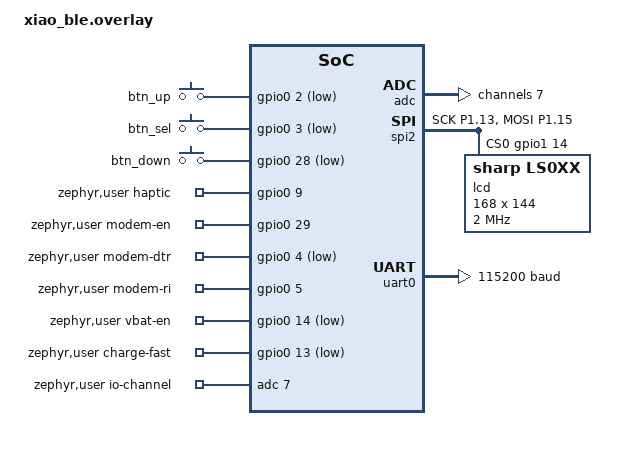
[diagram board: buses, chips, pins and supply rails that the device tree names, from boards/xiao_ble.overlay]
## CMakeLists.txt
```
cmake_minimum_required(VERSION 3.20.0)
find_package(Zephyr REQUIRED HINTS $ENV{ZEPHYR_BASE})
project(life_pager)

target_sources(app PRIVATE
  src/main.c src/hw.c src/ble.c src/modem.c
  src/model.c src/proto.c)

# 8x16 font for the 168x144 display (21 x 9 characters), generated from DejaVu Sans Mono
# the same way Zephyr's samples/subsys/display/cfb_custom_font does it.
set(gen_dir ${ZEPHYR_BINARY_DIR}/include/generated/)
generate_cfb_font_for_target(app fonts/DejaVuSansMono.ttf ${gen_dir}/cfb_font_pager.h 8 16
  --first 32 --last 126)
```

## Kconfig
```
mainmenu "Life Pager"

config PAGER_LTE
	bool "Enable the LTE-M away link (nRF9151 Serial Modem on uart0)"
	default y

config PAGER_AWAY_DELAY_S
	int "Seconds without the phone before LTE is switched on"
	default 60

config PAGER_MQTT_HOST
	string "MQTT broker host name"
	default "broker.example.com"

config PAGER_MQTT_PORT
	int "MQTT broker TLS port"
	default 8883

config PAGER_MQTT_USER
	string "MQTT user name"
	default "pager1"

config PAGER_MQTT_PASS
	string "MQTT password (set it in a private conf file, see firmware/README.md)"
	default ""

config PAGER_MQTT_SEC_TAG
	int "Modem security tag holding the broker's CA certificate"
	default 4242

config PAGER_ID
	string "Pager id used in MQTT topics"
	default "pager1"

source "Kconfig.zephyr"
```

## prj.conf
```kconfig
# ---- Bluetooth: peripheral, bonded, ANCS client + pager bridge service
CONFIG_BT=y
CONFIG_BT_PERIPHERAL=y
CONFIG_BT_SMP=y
CONFIG_BT_SETTINGS=y
CONFIG_BT_MAX_PAIRED=1
CONFIG_BT_MAX_CONN=1
CONFIG_BT_DEVICE_NAME="Life Pager"
CONFIG_BT_DEVICE_APPEARANCE=0
CONFIG_BT_GATT_CLIENT=y
CONFIG_BT_GATT_DM=y
CONFIG_BT_ANCS_CLIENT=y
CONFIG_BT_L2CAP_TX_MTU=247
CONFIG_BT_BUF_ACL_RX_SIZE=251
CONFIG_BT_BUF_ACL_TX_SIZE=251
CONFIG_BT_PERIPHERAL_PREF_MIN_INT=24
CONFIG_BT_PERIPHERAL_PREF_MAX_INT=40
CONFIG_BT_PERIPHERAL_PREF_LATENCY=30
CONFIG_BT_PERIPHERAL_PREF_TIMEOUT=600

# ---- storage for bonds
CONFIG_FLASH=y
CONFIG_FLASH_MAP=y
CONFIG_NVS=y
CONFIG_SETTINGS=y

# ---- display: SSD1681 e-paper on the EN05 (driver selected from devicetree)
CONFIG_DISPLAY=y
CONFIG_MIPI_DBI=y
CONFIG_CHARACTER_FRAMEBUFFER=y
CONFIG_HEAP_MEM_POOL_SIZE=8192

# ---- peripherals
CONFIG_GPIO=y
CONFIG_ADC=y
CONFIG_SERIAL=y
CONFIG_UART_INTERRUPT_DRIVEN=y

# ---- power
CONFIG_PM_DEVICE=y

# ---- logging over USB CDC (the board default); turn off for battery measurements
CONFIG_LOG=y
CONFIG_MAIN_STACK_SIZE=4096
CONFIG_SYSTEM_WORKQUEUE_STACK_SIZE=2048
```

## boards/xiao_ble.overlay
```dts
/*
 * Life Pager Rev A wiring on the Seeed XIAO nRF52840. Keep in step with hardware/netlist.yaml.
 *
 *   D0 P0.02 BTN_UP      D4 P0.04 MODEM_DTR    D8  P1.13 LCD_SCK
 *   D1 P0.03 BTN_SEL     D5 P0.05 MODEM_RI     D9  P1.14 LCD_CS (active high)
 *   D2 P0.28 BTN_DOWN    D6 P1.11 UART_TX      D10 P1.15 LCD_MOSI
 *   D3 P0.29 MODEM_EN    D7 P1.12 UART_RX      NFC1 P0.09 HAPTIC
 *   on-board: P0.31 battery sense (AIN7), P0.14 sense enable (low), P0.13 charge current
 */
#include <zephyr/dt-bindings/input/input-event-codes.h>

/ {
	chosen {
		zephyr,display = &lcd;
	};

	buttons {
		compatible = "gpio-keys";
		btn_up: btn_up {
			gpios = <&gpio0 2 (GPIO_PULL_UP | GPIO_ACTIVE_LOW)>;
			zephyr,code = <INPUT_KEY_UP>;
		};
		btn_sel: btn_sel {
			gpios = <&gpio0 3 (GPIO_PULL_UP | GPIO_ACTIVE_LOW)>;
			zephyr,code = <INPUT_KEY_ENTER>;
		};
		btn_down: btn_down {
			gpios = <&gpio0 28 (GPIO_PULL_UP | GPIO_ACTIVE_LOW)>;
			zephyr,code = <INPUT_KEY_DOWN>;
		};
	};

	zephyr,user {
		haptic-gpios = <&gpio0 9 GPIO_ACTIVE_HIGH>;
		modem-en-gpios = <&gpio0 29 GPIO_ACTIVE_HIGH>;
		modem-dtr-gpios = <&gpio0 4 GPIO_ACTIVE_LOW>;
		modem-ri-gpios = <&gpio0 5 (GPIO_PULL_DOWN | GPIO_ACTIVE_HIGH)>;
		vbat-en-gpios = <&gpio0 14 GPIO_ACTIVE_LOW>;
		charge-fast-gpios = <&gpio0 13 GPIO_ACTIVE_LOW>;
		io-channels = <&adc 7>;
	};
};

&uicr {
	nfct-pins-as-gpios;
};

&adc {
	#address-cells = <1>;
	#size-cells = <0>;
	status = "okay";

	channel@7 {
		reg = <7>;
		zephyr,gain = "ADC_GAIN_1_6";
		zephyr,reference = "ADC_REF_INTERNAL";
		zephyr,acquisition-time = <ADC_ACQ_TIME(ADC_ACQ_TIME_MICROSECONDS, 40)>;
		zephyr,input-positive = <NRF_SAADC_AIN7>;
		zephyr,resolution = <12>;
	};
};

&pinctrl {
	lcd_spi_default: lcd_spi_default {
		group1 {
			psels = <NRF_PSEL(SPIM_SCK, 1, 13)>, <NRF_PSEL(SPIM_MOSI, 1, 15)>;
		};
	};
	lcd_spi_sleep: lcd_spi_sleep {
		group1 {
			psels = <NRF_PSEL(SPIM_SCK, 1, 13)>, <NRF_PSEL(SPIM_MOSI, 1, 15)>;
			low-power-enable;
		};
	};
};

&spi2 {
	status = "okay";
	pinctrl-0 = <&lcd_spi_default>;
	pinctrl-1 = <&lcd_spi_sleep>;
	pinctrl-names = "default", "sleep";
	cs-gpios = <&gpio1 14 GPIO_ACTIVE_HIGH>;

	lcd: ls0xx@0 {
		compatible = "sharp,ls0xx";
		reg = <0>;
		spi-max-frequency = <2000000>;
		width = <168>;
		height = <144>;
		/* EXTMODE is tied low: the driver toggles VCOM in software */
	};
};

/* uart0 is already on D6 (TX) / D7 (RX) in the board file; it talks to the nRF9151 */
&uart0 {
	status = "okay";
	current-speed = <115200>;
};

/* I2C and the default SPI flash are not used; their pins are reassigned above */
&i2c1 {
	status = "disabled";
};
```

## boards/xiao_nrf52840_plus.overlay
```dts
/*
 * Life Pager on off-the-shelf parts:
 *   Seeed XIAO nRF52840 Plus, plugged into the Seeed XIAO ePaper Display Board EN05,
 *   with Seeed's 1.54" 200x200 monochrome e-paper panel (SSD1681) in its 24-pin connector.
 *
 * EN05 wiring (fixed by the board; from Seeed_GFX2 src/board/configs/XIAO_ePaper_Board_Configs.h
 * and the EN05 wiki, mapped to GPIOs with Zephyr's xiao_nrf52840_plus board docs):
 *
 *   ePaper CS     D7   P1.12        KEY1  D1  P0.03   -> UP
 *   ePaper DC     D16  P0.31 (*)    KEY2  D2  P0.28   -> SELECT
 *   ePaper RST    D11  P0.15        KEY3  D9  P1.14   -> DOWN
 *   ePaper BUSY   D3   P0.29
 *   ePaper SCK    D8   P1.13        Free for our modules:
 *   ePaper MOSI   D10  P1.15          D0 P0.02  Grove vibration motor SIG
 *   ePaper PWR EN D6   P1.11          D4 P0.04  UART TX -> nRF9151 kit P0.03
 *                                     D5 P0.05  UART RX <- nRF9151 kit P0.02
 *
 * (*) P0.31 is also the XIAO's battery-voltage input (AIN7). hw.c borrows the pin back from the
 *     display between refreshes to read the battery.
 */
#include <zephyr/dt-bindings/input/input-event-codes.h>

/ {
	chosen {
		zephyr,display = &epd;
	};

	buttons {
		compatible = "gpio-keys";
		btn_up: btn_up {
			gpios = <&gpio0 3 (GPIO_PULL_UP | GPIO_ACTIVE_LOW)>;
			zephyr,code = <INPUT_KEY_UP>;
		};
		btn_sel: btn_sel {
			gpios = <&gpio0 28 (GPIO_PULL_UP | GPIO_ACTIVE_LOW)>;
			zephyr,code = <INPUT_KEY_ENTER>;
		};
		btn_down: btn_down {
			gpios = <&gpio1 14 (GPIO_PULL_UP | GPIO_ACTIVE_LOW)>;
			zephyr,code = <INPUT_KEY_DOWN>;
		};
	};

	mipi_dbi_epd {
		compatible = "zephyr,mipi-dbi-spi";
		spi-dev = <&spi3>;
		dc-gpios = <&gpio0 31 GPIO_ACTIVE_HIGH>;
		reset-gpios = <&gpio0 15 GPIO_ACTIVE_LOW>;
		write-only;
		#address-cells = <1>;
		#size-cells = <0>;

		epd: ssd16xxfb@0 {
			compatible = "solomon,ssd1681";
			reg = <0>;
			mipi-max-frequency = <4000000>;
			width = <200>;
			height = <200>;
			busy-gpios = <&gpio0 29 GPIO_ACTIVE_HIGH>;
			tssv = <0x80>;

			full {
				border-waveform = <0x05>;
			};

			partial {
				border-waveform = <0x3c>;
			};
		};
	};

	zephyr,user {
		haptic-gpios = <&gpio0 2 GPIO_ACTIVE_HIGH>;      /* Grove vibration motor, active high */
		epd-dc-gpios = <&gpio0 31 GPIO_ACTIVE_HIGH>;     /* same pin as dc-gpios: battery read */
		vbat-en-gpios = <&gpio0 14 GPIO_ACTIVE_LOW>;
		charge-fast-gpios = <&gpio0 13 GPIO_ACTIVE_LOW>;
		io-channels = <&adc 7>;
	};
};

/* Panel power switch on the EN05. Held on: the SSD1681 sleeps between refreshes itself. */
&gpio1 {
	epd_power {
		gpio-hog;
		gpios = <11 GPIO_ACTIVE_HIGH>;
		output-high;
	};
};

&pinctrl {
	epd_spi_default: epd_spi_default {
		group1 {
			psels = <NRF_PSEL(SPIM_SCK, 1, 13)>, <NRF_PSEL(SPIM_MOSI, 1, 15)>;
		};
	};
	epd_spi_sleep: epd_spi_sleep {
		group1 {
			psels = <NRF_PSEL(SPIM_SCK, 1, 13)>, <NRF_PSEL(SPIM_MOSI, 1, 15)>;
			low-power-enable;
		};
	};
	modem_uart_default: modem_uart_default {
		group1 {
			psels = <NRF_PSEL(UART_TX, 0, 4)>;
		};
		group2 {
			psels = <NRF_PSEL(UART_RX, 0, 5)>;
			bias-pull-up;
		};
	};
	modem_uart_sleep: modem_uart_sleep {
		group1 {
			psels = <NRF_PSEL(UART_TX, 0, 4)>, <NRF_PSEL(UART_RX, 0, 5)>;
			low-power-enable;
		};
	};
};

/* D9 is a button on the EN05, so the display SPI has no MISO */
&spi3 {
	status = "okay";
	pinctrl-0 = <&epd_spi_default>;
	pinctrl-1 = <&epd_spi_sleep>;
	pinctrl-names = "default", "sleep";
	cs-gpios = <&gpio1 12 GPIO_ACTIVE_LOW>;
};

/* uart0 moves from D6/D7 (taken by the EN05) to D4/D5 for the nRF9151 kit */
&uart0 {
	status = "okay";
	current-speed = <115200>;
	pinctrl-0 = <&modem_uart_default>;
	pinctrl-1 = <&modem_uart_sleep>;
	pinctrl-names = "default", "sleep";
};

/* D4/D5 would otherwise be I2C */
&i2c1 {
	status = "disabled";
};
```

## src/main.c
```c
/*
 * Life Pager firmware entry point: owns the model and decides which link carries traffic.
 *
 *   phone app relaying over Bluetooth  -> use it, keep the LTE modem powered off
 *   no phone for PAGER_AWAY_DELAY_S    -> power the modem, connect MQTT over LTE-M
 *   phone comes back                   -> switch back, power the modem off
 */
#include <zephyr/kernel.h>
#include <zephyr/logging/log.h>

#include "app.h"

LOG_MODULE_REGISTER(pager, LOG_LEVEL_INF);

K_MSGQ_DEFINE(evt_q, sizeof(struct app_evt), 12, 4);

static struct pager pager;
static bool ble_up, lte_up;
static int64_t ble_lost_at;

void app_post(const struct app_evt *e)
{
	if (k_msgq_put(&evt_q, e, K_NO_WAIT) != 0) {
		LOG_WRN("event queue full, dropped type %u", e->type);
	}
}

static uint32_t now_s(void)
{
	return (uint32_t)(k_uptime_get() / 1000);
}

static void io_send(const struct proto_msg *m, void *ctx)
{
	uint8_t buf[PROTO_MAX_FRAME];
	int len = proto_encode(m, buf, sizeof(buf));
	int err;

	ARG_UNUSED(ctx);
	if (len < 0) {
		return;
	}
	err = ble_up ? ble_send(buf, len) : modem_send(buf, len);
	if (err) {
		LOG_WRN("send type 0x%02x failed: %d", m->type, err);
	}
}

static void io_haptic(enum haptic h, void *ctx)
{
	ARG_UNUSED(ctx);
	hw_haptic(h);
}

static void io_decline(void *ctx)
{
	ARG_UNUSED(ctx);
	ble_decline_call();
}

static void update_link(void)
{
	static int8_t current = -1;         /* -1 none, else enum proto_link */
	int8_t want = ble_up ? LINK_BLE_BRIDGE : (lte_up ? LINK_LTE : -1);

	if (want == current) {
		return;
	}
	current = want;
	pager_link_changed(&pager, want >= 0, want >= 0 ? want : 0, now_s());
}

static void handle(const struct app_evt *e)
{
	struct proto_msg m;

	switch (e->type) {
	case EVT_BUTTON:
		pager_on_button(&pager, e->arg, now_s());
		break;
	case EVT_RING:
		pager_on_ring(&pager, e->text, now_s());
		break;
	case EVT_RING_END:
		pager_on_ring_end(&pager, now_s());
		break;
	case EVT_FRAME:
		if (proto_decode(e->data, e->len, &m) == 0 && (m.type & 0x80)) {
			pager_on_frame(&pager, &m, now_s());
		}
		break;
	case EVT_BLE_BRIDGE:
		ble_up = e->arg;
		if (ble_up) {
			modem_request(false);
		} else {
			ble_lost_at = k_uptime_get();
		}
		update_link();
		break;
	case EVT_LTE:
		lte_up = e->arg;
		update_link();
		break;
	}
}

int main(void)
{
	const struct pager_io io = { io_send, io_haptic, io_decline, NULL };
	struct app_evt e;
	int64_t next_tick = 0;
	uint32_t ticks = 0;

	pager_init(&pager, &io);
	if (hw_init() || ble_init() || modem_init()) {
		LOG_ERR("init failed");
	}
	ble_lost_at = k_uptime_get();

	for (;;) {
		/* Sleep until an event or the next minute/second boundary we care about. The
		 * 1 s tick only runs while something on screen can change; otherwise 10 s. */
		k_timeout_t wait = K_MSEC(MAX(next_tick - k_uptime_get(), 0));

		if (k_msgq_get(&evt_q, &e, wait) == 0) {
			handle(&e);
		}
		if (k_uptime_get() >= next_tick) {
			bool busy = pager.screen != SCR_HOME || pager.toast_until != 0;

			next_tick = k_uptime_get() + (busy ? 1000 : 10000);
			pager_tick(&pager, now_s());
			if ((ticks++ % 30) == 0) {
				pager_set_battery(&pager, hw_battery_pct());
			}
			if (IS_ENABLED(CONFIG_PAGER_LTE) && !ble_up &&
			    k_uptime_get() - ble_lost_at > CONFIG_PAGER_AWAY_DELAY_S * 1000LL) {
				modem_request(true);
			}
		}
		if (pager.dirty) {
			pager.dirty = false;
			hw_draw(&pager);
		}
	}
	return 0;
}
```

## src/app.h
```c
/* Glue between the Zephyr-facing modules and the model. Everything funnels through one
 * event queue so the model is only ever touched from the main thread. */
#ifndef PAGER_APP_H
#define PAGER_APP_H

#include <stdbool.h>
#include <stddef.h>
#include <stdint.h>

#include "model.h"

enum app_evt_type {
	EVT_BUTTON,         /* arg = enum button */
	EVT_RING,           /* text = caller */
	EVT_RING_END,
	EVT_FRAME,          /* data/len = one protocol frame from the cloud */
	EVT_BLE_BRIDGE,     /* arg = 1 when the phone app is relaying, 0 when it stopped */
	EVT_LTE,            /* arg = 1 when MQTT is connected, 0 when it dropped */
};

struct app_evt {
	uint8_t type;
	uint8_t arg;
	uint8_t len;
	union {
		uint8_t data[PROTO_MAX_FRAME];
		char text[PROTO_MAX_NAME + 1];
	};
};

void app_post(const struct app_evt *e);     /* safe from any thread; drops if the queue is full */

/* hw.c */
int hw_init(void);
void hw_haptic(enum haptic h);
uint8_t hw_battery_pct(void);
void hw_draw(const struct pager *p);

/* ble.c */
int ble_init(void);
bool ble_bridge_ready(void);
int ble_send(const uint8_t *frame, size_t len);
void ble_decline_call(void);

/* modem.c */
int modem_init(void);
void modem_request(bool on);                /* power up + connect, or disconnect + power down */
bool modem_connected(void);
int modem_send(const uint8_t *frame, size_t len);

#endif
```

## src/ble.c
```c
/*
 * Bluetooth: one bonded iPhone.
 *
 *  1. ANCS client - the iPhone itself tells us about incoming calls (no app needed), and lets
 *     us decline them. Follows the nRF Connect SDK peripheral_ancs_client sample.
 *  2. Pager bridge service - the companion app relays opaque protocol frames between this
 *     service and the backend. Both characteristics require an encrypted (bonded) link.
 *
 *     service 7a1e0001-5b0c-4c1e-9f0a-6c1f5e9a2b10
 *     RX      7a1e0002-...  write / write without response   app -> pager, one frame per write
 *     TX      7a1e0003-...  notify                           pager -> app, one frame per notify
 */
#include <zephyr/bluetooth/bluetooth.h>
#include <zephyr/bluetooth/conn.h>
#include <zephyr/bluetooth/gatt.h>
#include <zephyr/bluetooth/uuid.h>
#include <zephyr/kernel.h>
#include <zephyr/logging/log.h>
#include <zephyr/settings/settings.h>

#include <bluetooth/gatt_dm.h>
#include <bluetooth/services/ancs_client.h>

#include "app.h"

LOG_MODULE_DECLARE(pager);

#define BRIDGE_UUID(n) BT_UUID_128_ENCODE(0x7a1e0000 + (n), 0x5b0c, 0x4c1e, 0x9f0a, 0x6c1f5e9a2b10)
static const struct bt_uuid_128 svc_uuid = BT_UUID_INIT_128(BRIDGE_UUID(1));
static const struct bt_uuid_128 rx_uuid = BT_UUID_INIT_128(BRIDGE_UUID(2));
static const struct bt_uuid_128 tx_uuid = BT_UUID_INIT_128(BRIDGE_UUID(3));

static struct bt_conn *conn;
static struct bt_ancs_client ancs;
static bool bridge_on, ancs_ready;
static uint32_t ring_uid;
static bool ring_active;
static uint8_t title_buf[PROTO_MAX_NAME + 1];

/* ------------------------------------------------------------------ bridge service */
static ssize_t rx_write(struct bt_conn *c, const struct bt_gatt_attr *attr, const void *buf,
			uint16_t len, uint16_t offset, uint8_t flags)
{
	struct app_evt e = { .type = EVT_FRAME };

	ARG_UNUSED(c);
	ARG_UNUSED(attr);
	ARG_UNUSED(flags);
	if (offset != 0 || len < 2 || len > PROTO_MAX_FRAME) {
		return BT_GATT_ERR(BT_ATT_ERR_INVALID_ATTRIBUTE_LEN);
	}
	e.len = (uint8_t)len;
	memcpy(e.data, buf, len);
	app_post(&e);
	return len;
}

static void tx_ccc_changed(const struct bt_gatt_attr *attr, uint16_t value)
{
	struct app_evt e = { .type = EVT_BLE_BRIDGE, .arg = (value == BT_GATT_CCC_NOTIFY) };

	ARG_UNUSED(attr);
	bridge_on = e.arg;
	app_post(&e);
}

BT_GATT_SERVICE_DEFINE(bridge_svc,
	BT_GATT_PRIMARY_SERVICE(&svc_uuid),
	BT_GATT_CHARACTERISTIC(&rx_uuid.uuid, BT_GATT_CHRC_WRITE | BT_GATT_CHRC_WRITE_WITHOUT_RESP,
			       BT_GATT_PERM_WRITE_ENCRYPT, NULL, rx_write, NULL),
	BT_GATT_CHARACTERISTIC(&tx_uuid.uuid, BT_GATT_CHRC_NOTIFY, BT_GATT_PERM_NONE, NULL, NULL, NULL),
	BT_GATT_CCC(tx_ccc_changed, BT_GATT_PERM_READ | BT_GATT_PERM_WRITE_ENCRYPT),
);

bool ble_bridge_ready(void)
{
	return conn != NULL && bridge_on;
}

int ble_send(const uint8_t *frame, size_t len)
{
	if (!ble_bridge_ready()) {
		return -ENOTCONN;
	}
	if (len > bt_gatt_get_mtu(conn) - 3) {
		return -EMSGSIZE;
	}
	return bt_gatt_notify(conn, &bridge_svc.attrs[4], frame, len);
}

/* ------------------------------------------------------------------ ANCS */
static void ring_end(void)
{
	struct app_evt e = { .type = EVT_RING_END };

	if (ring_active) {
		ring_active = false;
		app_post(&e);
	}
}

static void ancs_notif_cb(struct bt_ancs_client *c, int err, const struct bt_ancs_evt_notif *n)
{
	if (err || n->category_id != BT_ANCS_CATEGORY_ID_INCOMING_CALL) {
		return;                               /* calls only - everything else is ignored */
	}
	if (n->evt_id == BT_ANCS_EVENT_ID_NOTIFICATION_ADDED && !n->evt_flags.pre_existing) {
		ring_uid = n->notif_uid;
		ring_active = true;
		/* Ask for the title = caller name or number; the ring is announced when it arrives */
		if (bt_ancs_request_attrs(c, n, NULL) != 0) {
			struct app_evt e = { .type = EVT_RING };

			app_post(&e);
		}
	} else if (n->evt_id == BT_ANCS_EVENT_ID_NOTIFICATION_REMOVED && n->notif_uid == ring_uid) {
		ring_end();
	}
}

static void ancs_data_cb(struct bt_ancs_client *c, const struct bt_ancs_attr_response *r)
{
	struct app_evt e = { .type = EVT_RING };

	ARG_UNUSED(c);
	if (r->command_id != BT_ANCS_COMMAND_ID_GET_NOTIF_ATTRIBUTES || r->notif_uid != ring_uid ||
	    r->attr.attr_id != BT_ANCS_NOTIF_ATTR_ID_TITLE || !ring_active) {
		return;
	}
	snprintf(e.text, sizeof(e.text), "%.*s", (int)MIN(r->attr.attr_len, PROTO_MAX_NAME),
		 (const char *)r->attr.attr_data);
	app_post(&e);
}

void ble_decline_call(void)
{
	if (ancs_ready && ring_active) {
		bt_ancs_notification_action(&ancs, ring_uid, BT_ANCS_ACTION_ID_NEGATIVE, NULL);
	}
}

static void dm_completed(struct bt_gatt_dm *dm, void *ctx)
{
	ARG_UNUSED(ctx);
	if (bt_ancs_handles_assign(dm, &ancs) == 0 &&
	    bt_ancs_subscribe_notification_source(&ancs, ancs_notif_cb) == 0 &&
	    bt_ancs_subscribe_data_source(&ancs, ancs_data_cb) == 0) {
		ancs_ready = true;
		LOG_INF("ANCS ready");
	}
	bt_gatt_dm_data_release(dm);
}

static void dm_not_found(struct bt_conn *c, void *ctx)
{
	ARG_UNUSED(c);
	ARG_UNUSED(ctx);
	LOG_WRN("peer has no ANCS (not an iPhone, or not bonded yet)");
}

static void dm_error(struct bt_conn *c, int err, void *ctx)
{
	ARG_UNUSED(c);
	ARG_UNUSED(ctx);
	LOG_WRN("ANCS discovery failed: %d", err);
}

static const struct bt_gatt_dm_cb dm_cb = {
	.completed = dm_completed,
	.service_not_found = dm_not_found,
	.error_found = dm_error,
};

/* ------------------------------------------------------------------ connection */
static const struct bt_data ad[] = {
	BT_DATA_BYTES(BT_DATA_FLAGS, (BT_LE_AD_GENERAL | BT_LE_AD_NO_BREDR)),
	BT_DATA_BYTES(BT_DATA_SOLICIT128, BT_UUID_ANCS_VAL),
};
static const struct bt_data sd[] = {
	BT_DATA_BYTES(BT_DATA_UUID128_ALL, BRIDGE_UUID(1)),
};

static void advertise(struct k_work *work)
{
	/* 1 s interval: slow enough to cost ~15 uA, fast enough that iOS reconnects in seconds */
	static const struct bt_le_adv_param param = BT_LE_ADV_PARAM_INIT(
		BT_LE_ADV_OPT_CONN, 0x0640, 0x0640, NULL);
	int err;

	ARG_UNUSED(work);
	err = bt_le_adv_start(&param, ad, ARRAY_SIZE(ad), sd, ARRAY_SIZE(sd));
	if (err && err != -EALREADY) {
		LOG_WRN("advertising failed: %d", err);
	}
}
static K_WORK_DEFINE(adv_work, advertise);

static void connected(struct bt_conn *c, uint8_t err)
{
	if (err) {
		k_work_submit(&adv_work);
		return;
	}
	conn = bt_conn_ref(c);
	if (bt_conn_set_security(c, BT_SECURITY_L2) != 0) {
		LOG_WRN("could not request encryption");
	}
}

static void disconnected(struct bt_conn *c, uint8_t reason)
{
	struct app_evt e = { .type = EVT_BLE_BRIDGE, .arg = 0 };

	ARG_UNUSED(c);
	ARG_UNUSED(reason);
	if (conn) {
		bt_conn_unref(conn);
		conn = NULL;
	}
	ancs_ready = false;
	bridge_on = false;
	ring_end();
	app_post(&e);
	k_work_submit(&adv_work);
}

static void security_changed(struct bt_conn *c, bt_security_t level, enum bt_security_err err)
{
	if (err || level < BT_SECURITY_L2) {
		LOG_WRN("security failed: %d", err);
		return;
	}
	if (bt_gatt_dm_start(c, BT_UUID_ANCS, &dm_cb, NULL) != 0) {
		LOG_WRN("could not start ANCS discovery");
	}
}

BT_CONN_CB_DEFINE(conn_cb) = {
	.connected = connected,
	.disconnected = disconnected,
	.security_changed = security_changed,
};

int ble_init(void)
{
	int err = bt_enable(NULL);

	if (err) {
		return err;
	}
	settings_load();
	err = bt_ancs_client_init(&ancs);
	if (err) {
		return err;
	}
	err = bt_ancs_register_attr(&ancs, BT_ANCS_NOTIF_ATTR_ID_TITLE, title_buf, sizeof(title_buf) - 1);
	if (err) {
		return err;
	}
	k_work_submit(&adv_work);
	return 0;
}
```

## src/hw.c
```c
/* Buttons (on the EN05), Grove vibration motor, battery gauge and the 1.54" e-paper panel. */
#include <zephyr/device.h>
#include <zephyr/devicetree.h>
#include <zephyr/display/cfb.h>
#include <zephyr/drivers/adc.h>
#include <zephyr/drivers/display.h>
#include <zephyr/drivers/gpio.h>
#include <zephyr/input/input.h>
#include <zephyr/kernel.h>
#include <zephyr/logging/log.h>

#include "app.h"

LOG_MODULE_DECLARE(pager);

#define USER DT_PATH(zephyr_user)
#define FONT_W 8
#define FONT_H 16

static const struct gpio_dt_spec haptic_pin = GPIO_DT_SPEC_GET(USER, haptic_gpios);
static const struct gpio_dt_spec vbat_en = GPIO_DT_SPEC_GET(USER, vbat_en_gpios);
static const struct gpio_dt_spec charge_fast = GPIO_DT_SPEC_GET(USER, charge_fast_gpios);
static const struct gpio_dt_spec epd_dc = GPIO_DT_SPEC_GET(USER, epd_dc_gpios);
static const struct adc_dt_spec vbat_adc = ADC_DT_SPEC_GET(USER);
static const struct device *const display = DEVICE_DT_GET(DT_CHOSEN(zephyr_display));

/* ------------------------------------------------------------------ buttons */
static void on_input(struct input_event *evt, void *user_data)
{
	struct app_evt e = { .type = EVT_BUTTON };

	ARG_UNUSED(user_data);
	if (evt->type != INPUT_EV_KEY || evt->value == 0) {
		return;                               /* act on press, ignore release */
	}
	switch (evt->code) {
	case INPUT_KEY_UP: e.arg = BTN_UP; break;
	case INPUT_KEY_ENTER: e.arg = BTN_SELECT; break;
	case INPUT_KEY_DOWN: e.arg = BTN_DOWN; break;
	default: return;
	}
	app_post(&e);
}
INPUT_CALLBACK_DEFINE(NULL, on_input, NULL);      /* gpio-keys debounces for us */

/* ------------------------------------------------------------------ haptics */
/* Patterns are on/off durations in ms, terminated by 0. RING repeats until stopped. */
static const uint16_t pat_tick[] = { 40, 0 };
static const uint16_t pat_alert[] = { 250, 150, 250, 150, 250, 0 };
static const uint16_t pat_ring[] = { 400, 300, 400, 1500, 0 };
static const uint16_t *pattern;
static uint8_t pat_pos, ring_cycles;
static bool pat_repeat;

static void haptic_step(struct k_work *work);
static K_WORK_DELAYABLE_DEFINE(haptic_work, haptic_step);

static void haptic_step(struct k_work *work)
{
	ARG_UNUSED(work);
	if (pattern == NULL || pattern[pat_pos] == 0) {
		gpio_pin_set_dt(&haptic_pin, 0);
		if (pattern != NULL && pat_repeat && ++ring_cycles < 12) {   /* ~30 s at most */
			pat_pos = 0;
			k_work_reschedule(&haptic_work, K_NO_WAIT);
		} else {
			pattern = NULL;
		}
		return;
	}
	gpio_pin_set_dt(&haptic_pin, (pat_pos % 2) == 0);
	k_work_reschedule(&haptic_work, K_MSEC(pattern[pat_pos++]));
}

void hw_haptic(enum haptic h)
{
	k_work_cancel_delayable(&haptic_work);
	gpio_pin_set_dt(&haptic_pin, 0);
	pat_pos = 0;
	ring_cycles = 0;
	pat_repeat = (h == HAPTIC_RING);
	switch (h) {
	case HAPTIC_TICK: pattern = pat_tick; break;
	case HAPTIC_ALERT: pattern = pat_alert; break;
	case HAPTIC_RING: pattern = pat_ring; break;
	default: pattern = NULL; return;
	}
	k_work_reschedule(&haptic_work, K_NO_WAIT);
}

/* ------------------------------------------------------------------ battery */
uint8_t hw_battery_pct(void)
{
	/* The XIAO divides VBAT by 1510k / 510k before AIN7. Open-circuit LiPo curve, coarse. */
	static const struct { uint16_t mv; uint8_t pct; } curve[] = {
		{ 4150, 100 }, { 4000, 85 }, { 3850, 65 }, { 3750, 45 }, { 3680, 25 }, { 3550, 10 }, { 3300, 0 },
	};
	int16_t raw = 0;
	struct adc_sequence seq = { .buffer = &raw, .buffer_size = sizeof(raw) };
	int32_t mv;

	int err;

	/* On the EN05 the battery-sense pin P0.31 doubles as the display's DC line. The display
	 * is only touched from the main thread, same as this function, so it is idle here: release
	 * the pin, measure, and hand it back. The driver sets DC before every byte it sends. */
	gpio_pin_configure_dt(&epd_dc, GPIO_DISCONNECTED);
	gpio_pin_set_dt(&vbat_en, 1);
	k_msleep(2);
	adc_sequence_init_dt(&vbat_adc, &seq);
	err = adc_read_dt(&vbat_adc, &seq);
	gpio_pin_set_dt(&vbat_en, 0);
	gpio_pin_configure_dt(&epd_dc, GPIO_OUTPUT_INACTIVE);
	if (err != 0) {
		return 0;
	}
	mv = raw;
	adc_raw_to_millivolts_dt(&vbat_adc, &mv);
	mv = mv * (1000 + 510) / 510;
	for (size_t i = 0; i < ARRAY_SIZE(curve); i++) {
		if (mv >= curve[i].mv) {
			if (i == 0) {
				return 100;
			}
			return curve[i].pct + (curve[i - 1].pct - curve[i].pct) * (mv - curve[i].mv) /
						      (curve[i - 1].mv - curve[i].mv);
		}
	}
	return 0;
}

/* ------------------------------------------------------------------ display */
void hw_draw(const struct pager *p)
{
	char rows[UI_ROWS][UI_COLS + 1];
	int invert;

	/* E-paper: the SSD1681 keeps the image with no power. The ssd16xx driver does a full refresh
	 * on the first write and partial refreshes (about 0.3 s, no flash) afterwards because a
	 * `partial` profile is set in the overlay. VERIFY on hardware whether ghosting builds up; if
	 * it does, re-initialise the display every few dozen updates to force a full refresh. */
	pager_render(p, rows, &invert);
	cfb_framebuffer_clear(display, false);
	for (int r = 0; r < UI_ROWS; r++) {
		if (rows[r][0]) {
			cfb_print(display, rows[r], 0, r * FONT_H);
		}
	}
	if (invert >= 0) {
		cfb_invert_area(display, 0, invert * FONT_H, UI_COLS * FONT_W, FONT_H);
	}
	cfb_framebuffer_finalize(display);
}

int hw_init(void)
{
	int err = 0;

	err |= gpio_pin_configure_dt(&haptic_pin, GPIO_OUTPUT_INACTIVE);
	err |= gpio_pin_configure_dt(&vbat_en, GPIO_OUTPUT_INACTIVE);
	err |= gpio_pin_configure_dt(&charge_fast, GPIO_OUTPUT_ACTIVE);      /* 100 mA charge */
	err |= adc_channel_setup_dt(&vbat_adc);
	if (!device_is_ready(display)) {
		LOG_ERR("display not ready");
		return -ENODEV;
	}
	err |= display_blanking_off(display);
	err |= cfb_framebuffer_init(display);
	for (int i = 0; i < cfb_get_numof_fonts(display); i++) {
		uint8_t w, h;

		cfb_get_font_size(display, i, &w, &h);
		if (w == FONT_W && h == FONT_H) {
			cfb_framebuffer_set_font(display, i);
		}
	}
	return err ? -EIO : 0;
}
```

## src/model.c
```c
#include "model.h"

#include <stdarg.h>
#include <stdio.h>
#include <string.h>

#define IDLE_TIMEOUT_S 20
#define FRESH_EVENT_S 180       /* only buzz for events that just happened, not for backlog */
#define RING_MEMORY_S 90        /* a forwarded call this soon after a ring is the same call */
#define TOAST_S 3
#define RESYNC_FIRST_S 20       /* after a ring ends, look for the forwarded call / voicemail */
#define RESYNC_NEXT_S 60
#define RESYNC_COUNT 3

static uint32_t resync_at;
static uint8_t resync_left;
static bool got_events;

/* ------------------------------------------------------------------ helpers */
static void send(struct pager *p, struct proto_msg *m)
{
	m->seq = ++p->seq;
	if (p->io.send) p->io.send(m, p->io.ctx);
}

static void haptic(struct pager *p, enum haptic h)
{
	if (p->io.haptic) p->io.haptic(h, p->io.ctx);
}

static void toast(struct pager *p, const char *text, uint32_t now)
{
	snprintf(p->toast, sizeof(p->toast), "%s", text);
	p->toast_until = now + TOAST_S;
	p->dirty = true;
}

static void go(struct pager *p, enum screen s)
{
	p->screen = s;
	p->cursor = 0;
	p->top = 0;
	p->dirty = true;
}

static uint32_t unix_now(const struct pager *p)
{
	return p->unix_at_sync ? p->unix_at_sync + (p->now - p->uptime_at_sync) : 0;
}

/* The display font is ASCII. Collapse each non-ASCII code point to '?'. */
static void ascii_copy(char *dst, size_t cap, const char *src)
{
	size_t n = 0;

	for (const unsigned char *s = (const unsigned char *)src; *s && n + 1 < cap; s++) {
		if (*s < 0x80) {
			dst[n++] = (*s < 0x20) ? ' ' : (char)*s;
		} else if ((*s & 0xc0) != 0x80) {
			dst[n++] = '?';
		}
	}
	dst[n] = 0;
}

static const char *who(const struct inbox_item *it)
{
	if (it->name[0]) return it->name;
	if (it->number[0]) return it->number;
	return "Unknown caller";
}

static void send_sync(struct pager *p)
{
	struct proto_msg m = { .type = PT_SYNC };

	m.u.sync.last_event = p->last_event;
	got_events = false;
	send(p, &m);
}

/* ------------------------------------------------------------------ inbox */
static struct inbox_item *inbox_insert(struct pager *p)
{
	uint8_t n = p->inbox_count < INBOX_MAX ? p->inbox_count : INBOX_MAX - 1;

	memmove(&p->inbox[1], &p->inbox[0], n * sizeof(p->inbox[0]));
	memset(&p->inbox[0], 0, sizeof(p->inbox[0]));
	p->inbox_count = n + 1;
	if (p->screen == SCR_ITEM || p->screen == SCR_VMTEXT || p->screen == SCR_REPLY) {
		if (p->item + 1 < INBOX_MAX) {
			p->item++;                       /* keep pointing at the same entry */
		} else {
			go(p, SCR_HOME);                 /* it just fell off the end */
		}
	}
	return &p->inbox[0];
}

static void inbox_remove(struct pager *p, uint8_t idx)
{
	if (idx >= p->inbox_count) return;
	memmove(&p->inbox[idx], &p->inbox[idx + 1], (p->inbox_count - idx - 1) * sizeof(p->inbox[0]));
	p->inbox_count--;
}

static void alert_if_fresh(struct pager *p, uint32_t ts, uint32_t now, bool is_vm)
{
	uint32_t t = unix_now(p);
	bool fresh = t != 0 && ts + FRESH_EVENT_S >= t;
	bool same_call = p->ring_seen_at && now - p->ring_seen_at < RING_MEMORY_S;

	if (!fresh || p->ringing) return;
	if (!is_vm && same_call) return;       /* already buzzed for this call while it rang */
	haptic(p, HAPTIC_ALERT);
	if (p->screen == SCR_HOME || p->screen == SCR_INBOX) {
		go(p, SCR_ITEM);
		p->item = 0;
		p->reply_live = false;
		p->last_input = now;
	}
}

/* ------------------------------------------------------------------ item menu */
enum item_action { ACT_REPLY, ACT_READ, ACT_DELETE, ACT_BACK };

static uint8_t item_actions(const struct inbox_item *it, enum item_action out[4])
{
	uint8_t n = 0;

	if (it->is_vm && it->text_len > 0) out[n++] = ACT_READ;
	if (it->number[0] && !it->replied) out[n++] = ACT_REPLY;
	if (it->is_vm) out[n++] = ACT_DELETE;
	out[n++] = ACT_BACK;
	return n;
}

static void vm_request(struct pager *p)
{
	struct proto_msg m = { .type = PT_VM_GET };

	m.u.vm_get.vm_id = p->vm_reading;
	m.u.vm_get.offset = p->vm_have;
	send(p, &m);
}

static void vm_mark(struct pager *p, uint32_t vm_id, uint8_t action)
{
	struct proto_msg m = { .type = PT_VM_MARK };

	m.u.vm_mark.vm_id = vm_id;
	m.u.vm_mark.action = action;
	send(p, &m);
}

/* ------------------------------------------------------------------ public */
void pager_init(struct pager *p, const struct pager_io *io)
{
	memset(p, 0, sizeof(*p));
	p->io = *io;
	p->batt_pct = 100;
	p->dirty = true;
	resync_at = 0;
	resync_left = 0;
	got_events = false;
}

void pager_set_battery(struct pager *p, uint8_t pct)
{
	if (pct != p->batt_pct) p->dirty = true;
	p->batt_pct = pct;
}

void pager_link_changed(struct pager *p, bool up, uint8_t link, uint32_t now)
{
	p->now = now;
	p->link_up = up;
	p->link = link;
	p->dirty = true;
	if (up) {
		struct proto_msg m = { .type = PT_HELLO };

		m.u.hello.proto = PROTO_VERSION;
		m.u.hello.fw_major = FW_MAJOR;
		m.u.hello.fw_minor = FW_MINOR;
		m.u.hello.batt_pct = p->batt_pct;
		m.u.hello.link = link;
		m.u.hello.cfg_ver = p->cfg_ver;
		m.u.hello.last_event = p->last_event;
		got_events = false;
		send(p, &m);
	}
}

void pager_on_frame(struct pager *p, const struct proto_msg *m, uint32_t now)
{
	struct inbox_item *it = NULL;

	p->now = now;
	p->dirty = true;
	switch (m->type) {
	case PT_TIME:
		p->unix_at_sync = m->u.time.unix_time;
		p->uptime_at_sync = now;
		p->tz_min = m->u.time.tz_min;
		break;
	case PT_CANNED:
		if (m->u.canned.idx >= CANNED_MAX || m->u.canned.count > CANNED_MAX ||
		    m->u.canned.idx >= m->u.canned.count) {
			break;
		}
		if (m->u.canned.cfg_ver != p->cfg_ver_rx) {      /* first row of a new version */
			p->cfg_ver_rx = m->u.canned.cfg_ver;
			p->cfg_ver = 0;                      /* not complete yet */
		}
		ascii_copy(p->canned[m->u.canned.idx], sizeof(p->canned[0]), m->u.canned.text);
		if (m->u.canned.idx == m->u.canned.count - 1) {
			p->canned_count = m->u.canned.count;
			p->cfg_ver = m->u.canned.cfg_ver;
		}
		break;
	case PT_EV_CALL:
		if (m->u.ev_call.event <= p->last_event) break;      /* duplicate delivery */
		p->last_event = m->u.ev_call.event;
		got_events = true;
		it = inbox_insert(p);
		it->event = m->u.ev_call.event;
		it->ts = m->u.ev_call.ts;
		snprintf(it->number, sizeof(it->number), "%s", m->u.ev_call.number);
		ascii_copy(it->name, sizeof(it->name), m->u.ev_call.name);
		alert_if_fresh(p, it->ts, now, false);
		break;
	case PT_EV_VM:
		if (m->u.ev_vm.event <= p->last_event) break;
		p->last_event = m->u.ev_vm.event;
		got_events = true;
		for (uint8_t i = 0; i < p->inbox_count; i++) {
			if (p->inbox[i].is_vm && p->inbox[i].vm_id == m->u.ev_vm.vm_id) {
				it = &p->inbox[i];           /* transcript arrived for a known voicemail */
			}
		}
		if (it != NULL) {
			it->event = m->u.ev_vm.event;
			it->duration_s = m->u.ev_vm.duration_s;
			it->text_len = m->u.ev_vm.text_len;
			break;
		}
		it = inbox_insert(p);
		it->is_vm = true;
		it->event = m->u.ev_vm.event;
		it->vm_id = m->u.ev_vm.vm_id;
		it->ts = m->u.ev_vm.ts;
		it->duration_s = m->u.ev_vm.duration_s;
		it->text_len = m->u.ev_vm.text_len;
		snprintf(it->number, sizeof(it->number), "%s", m->u.ev_vm.number);
		ascii_copy(it->name, sizeof(it->name), m->u.ev_vm.name);
		alert_if_fresh(p, it->ts, now, true);
		break;
	case PT_VM_TEXT: {
		size_t l = strlen(m->u.vm_text.chunk);
		bool done;

		if (m->u.vm_text.vm_id != p->vm_reading || m->u.vm_text.offset != p->vm_have) break;
		p->vm_total = m->u.vm_text.total;
		if (p->vm_have + l > VM_TEXT_MAX) l = VM_TEXT_MAX - p->vm_have;
		memcpy(p->vm_text + p->vm_have, m->u.vm_text.chunk, l);
		p->vm_have += l;
		p->vm_text[p->vm_have] = 0;
		done = l == 0 || p->vm_have >= p->vm_total || p->vm_have >= VM_TEXT_MAX;
		if (!done) {
			vm_request(p);
			break;
		}
		for (uint8_t i = 0; i < p->inbox_count; i++) {
			if (p->inbox[i].is_vm && p->inbox[i].vm_id == p->vm_reading && !p->inbox[i].heard) {
				p->inbox[i].heard = true;
				vm_mark(p, p->vm_reading, VM_HEARD);
			}
		}
		break;
	}
	case PT_REPLY_RESULT:
		switch (m->u.reply_result.status) {
		case REPLY_SENT: toast(p, "Reply sent", now); haptic(p, HAPTIC_TICK); break;
		case REPLY_QUEUED: toast(p, "Reply queued", now); break;
		case REPLY_NO_CALLER: toast(p, "No number to text", now); break;
		default: toast(p, "Reply failed", now); break;
		}
		if (m->u.reply_result.status == REPLY_SENT) {
			for (uint8_t i = 0; i < p->inbox_count; i++) {
				if (p->inbox[i].event == m->u.reply_result.call_event) p->inbox[i].replied = true;
			}
		}
		break;
	case PT_SYNC_DONE:
		p->unheard = m->u.sync_done.unheard;
		if (got_events && p->link_up) send_sync(p);      /* drain the backlog */
		break;
	default:
		break;
	}
}

void pager_on_ring(struct pager *p, const char *caller, uint32_t now)
{
	p->now = now;
	p->ringing = true;
	p->ring_seen_at = now;
	ascii_copy(p->ring_who, sizeof(p->ring_who), caller && caller[0] ? caller : "Unknown caller");
	go(p, SCR_RINGING);
	p->last_input = now;
	haptic(p, HAPTIC_RING);
}

void pager_on_ring_end(struct pager *p, uint32_t now)
{
	p->now = now;
	if (!p->ringing) return;
	p->ringing = false;
	p->ring_seen_at = now;
	haptic(p, HAPTIC_STOP);
	if (p->screen == SCR_RINGING) go(p, SCR_HOME);
	resync_at = now + RESYNC_FIRST_S;
	resync_left = RESYNC_COUNT;
	p->dirty = true;
}

static void send_reply(struct pager *p, uint8_t idx, uint32_t now)
{
	struct proto_msg m = { .type = PT_REPLY };

	if (!p->link_up) {
		toast(p, "No connection", now);
		return;
	}
	m.u.reply.call_event = p->reply_live ? 0 : p->inbox[p->item].event;
	m.u.reply.canned_idx = idx;
	send(p, &m);
	toast(p, "Sending...", now);
}

void pager_on_button(struct pager *p, enum button b, uint32_t now)
{
	enum item_action acts[4];
	uint8_t n;

	p->now = now;
	p->last_input = now;
	p->dirty = true;
	switch (p->screen) {
	case SCR_HOME:
		go(p, SCR_INBOX);
		break;
	case SCR_RINGING:
		if (b == BTN_UP) {
			haptic(p, HAPTIC_STOP);                  /* silence, let it ring out */
		} else {
			if (p->io.decline_call) p->io.decline_call(p->io.ctx);
			haptic(p, HAPTIC_STOP);
			if (b == BTN_SELECT && p->canned_count > 0) {
				go(p, SCR_REPLY);
				p->reply_live = true;
			} else {
				go(p, SCR_HOME);
			}
		}
		break;
	case SCR_INBOX:
		n = p->inbox_count + 1;                          /* + Back */
		if (b == BTN_UP) p->cursor = (p->cursor + n - 1) % n;
		if (b == BTN_DOWN) p->cursor = (p->cursor + 1) % n;
		if (b == BTN_SELECT) {
			if (p->cursor >= p->inbox_count) {
				go(p, SCR_HOME);
			} else {
				p->item = p->cursor;
				p->reply_live = false;
				go(p, SCR_ITEM);
			}
		}
		break;
	case SCR_ITEM:
		n = item_actions(&p->inbox[p->item], acts);
		if (b == BTN_UP) p->cursor = (p->cursor + n - 1) % n;
		if (b == BTN_DOWN) p->cursor = (p->cursor + 1) % n;
		if (b != BTN_SELECT) break;
		switch (acts[p->cursor]) {
		case ACT_REPLY:
			if (p->canned_count == 0) toast(p, "No replies synced", now);
			else go(p, SCR_REPLY);
			break;
		case ACT_READ:
			if (!p->link_up && p->vm_reading != p->inbox[p->item].vm_id) {
				toast(p, "No connection", now);
				break;
			}
			if (p->vm_reading != p->inbox[p->item].vm_id) {
				p->vm_reading = p->inbox[p->item].vm_id;
				p->vm_have = 0;
				p->vm_total = p->inbox[p->item].text_len;
				p->vm_text[0] = 0;
				vm_request(p);
			}
			go(p, SCR_VMTEXT);
			break;
		case ACT_DELETE:
			if (!p->link_up) {
				toast(p, "No connection", now);
				break;
			}
			vm_mark(p, p->inbox[p->item].vm_id, VM_DELETE);
			inbox_remove(p, p->item);
			go(p, SCR_INBOX);
			toast(p, "Deleted", now);
			break;
		default:
			go(p, SCR_INBOX);
			break;
		}
		break;
	case SCR_REPLY:
		n = p->canned_count + 1;                         /* + Cancel */
		if (b == BTN_UP) p->cursor = (p->cursor + n - 1) % n;
		if (b == BTN_DOWN) p->cursor = (p->cursor + 1) % n;
		if (b == BTN_SELECT) {
			if (p->cursor < p->canned_count) send_reply(p, p->cursor, now);
			go(p, SCR_HOME);
		}
		break;
	case SCR_VMTEXT:
		if (b == BTN_UP && p->top >= 3) p->top -= 3;
		else if (b == BTN_UP) p->top = 0;
		if (b == BTN_DOWN && p->top < 120) p->top += 3;
		if (b == BTN_SELECT) {
			uint8_t keep = p->item;

			go(p, SCR_ITEM);
			p->item = keep;
		}
		break;
	}
}

void pager_tick(struct pager *p, uint32_t now)
{
	uint32_t prev_min = (unix_now(p) + p->tz_min * 60) / 60;

	p->now = now;
	if (p->toast_until && now >= p->toast_until) {
		p->toast_until = 0;
		p->dirty = true;
	}
	if (p->screen != SCR_HOME && p->screen != SCR_RINGING && now - p->last_input >= IDLE_TIMEOUT_S) {
		go(p, SCR_HOME);
	}
	if (resync_left && now >= resync_at) {
		resync_left--;
		resync_at = now + RESYNC_NEXT_S;
		if (p->link_up) send_sync(p);
	}
	if ((unix_now(p) + p->tz_min * 60) / 60 != prev_min) p->dirty = true;    /* clock moved on */
}

/* ------------------------------------------------------------------ rendering */
static void put(char rows[UI_ROWS][UI_COLS + 1], int r, const char *fmt, ...)
{
	va_list ap;

	if (r < 0 || r >= UI_ROWS) return;
	va_start(ap, fmt);
	vsnprintf(rows[r], UI_COLS + 1, fmt, ap);
	va_end(ap);
}

static void age(const struct pager *p, uint32_t ts, char *out, size_t cap)
{
	uint32_t t = unix_now(p);
	uint32_t d = (t > ts) ? t - ts : 0;

	if (t == 0) snprintf(out, cap, "--");
	else if (d < 60) snprintf(out, cap, "now");
	else if (d < 3600) snprintf(out, cap, "%um", (unsigned)(d / 60));
	else if (d < 86400) snprintf(out, cap, "%uh", (unsigned)(d / 3600));
	else snprintf(out, cap, "%ud", (unsigned)(d / 86400));
}

/* Greedy word wrap. Returns the number of bytes consumed for one line. */
static size_t wrap(const char *s, char *line)
{
	size_t n = 0, last_space = 0;

	while (s[n] && s[n] != '\n' && n < UI_COLS) {
		if (s[n] == ' ') last_space = n;
		n++;
	}
	if (s[n] && s[n] != '\n' && s[n] != ' ' && last_space > 0) n = last_space;
	memcpy(line, s, n);
	line[n] = 0;
	while (s[n] == ' ' || s[n] == '\n') n++;
	return n;
}

static void wrapped(char rows[UI_ROWS][UI_COLS + 1], int first_row, int max_rows, const char *utf8,
		    int skip)
{
	char clean[VM_TEXT_MAX + 1];
	char line[UI_COLS + 1];
	const char *s = clean;
	int r = 0;

	ascii_copy(clean, sizeof(clean), utf8);
	while (*s && r < max_rows) {
		s += wrap(s, line);
		if (skip > 0) {
			skip--;
			continue;
		}
		put(rows, first_row + r++, "%s", line);
	}
}

void pager_render(const struct pager *p, char rows[UI_ROWS][UI_COLS + 1], int *invert)
{
	static const char *const link_name[] = { "BT", "LTE" };
	const struct inbox_item *it = &p->inbox[p->item < INBOX_MAX ? p->item : 0];
	enum item_action acts[4];
	char when[8], status[12];
	uint32_t local = unix_now(p) + (uint32_t)(p->tz_min * 60);
	uint8_t n, first;

	for (int r = 0; r < UI_ROWS; r++) rows[r][0] = 0;
	*invert = -1;

	snprintf(status, sizeof(status), "%s %u%%", p->link_up ? link_name[p->link ? 1 : 0] : "--",
		 p->batt_pct);
	if (unix_now(p)) {
		put(rows, 0, "%-19s %02u:%02u", status, (unsigned)((local / 3600) % 24),
		    (unsigned)((local / 60) % 60));
	} else {
		put(rows, 0, "%-19s --:--", status);
	}

	switch (p->screen) {
	case SCR_HOME:
		if (p->unheard) put(rows, 3, "%u new voicemail%s", p->unheard, p->unheard == 1 ? "" : "s");
		else put(rows, 3, "No new voicemail");
		if (p->inbox_count) {
			age(p, p->inbox[0].ts, when, sizeof(when));
			put(rows, 5, "Last: %.19s", who(&p->inbox[0]));
			put(rows, 6, "      %s%s", when, strcmp(when, "now") && strcmp(when, "--") ? " ago" : "");
		}
		break;
	case SCR_RINGING:
		put(rows, 3, "Incoming call");
		put(rows, 5, "%s", p->ring_who);
		put(rows, 8, "^ Silence");
		put(rows, 9, "o Decline + reply");
		put(rows, 10, "v Decline");
		break;
	case SCR_INBOX:
		n = p->inbox_count + 1;
		first = p->cursor >= UI_ROWS - 1 ? p->cursor - (UI_ROWS - 2) : 0;
		for (uint8_t i = first; i < n && i - first < UI_ROWS - 1; i++) {
			if (i == p->inbox_count) {
				put(rows, 1 + i - first, "< Back");
			} else {
				age(p, p->inbox[i].ts, when, sizeof(when));
				put(rows, 1 + i - first, "%c%-19.19s %4s",
				    p->inbox[i].is_vm ? (p->inbox[i].heard ? 'v' : 'V') : ' ',
				    who(&p->inbox[i]), when);
			}
			if (i == p->cursor) *invert = 1 + i - first;
		}
		break;
	case SCR_ITEM:
		age(p, it->ts, when, sizeof(when));
		put(rows, 1, "%s", who(it));
		if (it->name[0]) put(rows, 2, "%s", it->number);
		if (it->is_vm) put(rows, 3, "Voicemail %us  %s", it->duration_s, when);
		else put(rows, 3, "%s  %s", it->replied ? "Replied" : "Missed call", when);
		n = item_actions(it, acts);
		for (uint8_t i = 0; i < n; i++) {
			static const char *const label[] = { "Reply by text", "Read message", "Delete", "< Back" };

			put(rows, 5 + i, "%s", label[acts[i]]);
			if (i == p->cursor) *invert = 5 + i;
		}
		break;
	case SCR_REPLY:
		put(rows, 1, "Reply to %.16s", p->reply_live ? p->ring_who : who(it));
		n = p->canned_count + 1;
		first = p->cursor >= UI_ROWS - 2 ? p->cursor - (UI_ROWS - 3) : 0;
		for (uint8_t i = first; i < n && i - first < UI_ROWS - 2; i++) {
			put(rows, 2 + i - first, "%s", i == p->canned_count ? "< Cancel" : p->canned[i]);
			if (i == p->cursor) *invert = 2 + i - first;
		}
		break;
	case SCR_VMTEXT:
		put(rows, 1, "%.18s %us", who(it), it->duration_s);
		if (p->vm_have == 0) put(rows, 3, p->vm_total ? "Loading..." : "(no transcript)");
		else wrapped(rows, 2, UI_ROWS - 2, p->vm_text, p->top);
		break;
	}
	if (p->toast_until) {
		put(rows, UI_ROWS - 1, "%s", p->toast);
		*invert = UI_ROWS - 1;
	}
}
```

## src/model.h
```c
/*
 * Pager application model: inbox, canned replies, and the whole UI state machine.
 * Pure C with no Zephyr dependencies. Input: buttons, ANCS call events, protocol frames, ticks.
 * Output: protocol frames to send, haptic patterns, ANCS actions, and a text grid to draw.
 * Compiled and tested on the host (firmware/tests).
 */
#ifndef PAGER_MODEL_H
#define PAGER_MODEL_H

#include <stdbool.h>
#include <stdint.h>

#include "proto.h"

#define UI_COLS 25          /* 200 px / 8 px font */
#define UI_ROWS 12          /* 200 px / 16 px font, 8 px spare */
#define INBOX_MAX 12
#define CANNED_MAX 8
#define VM_TEXT_MAX 640     /* longer transcripts are cut on the pager; the app has the rest */
#define FW_MAJOR 0
#define FW_MINOR 1

enum button { BTN_UP, BTN_SELECT, BTN_DOWN };
enum haptic { HAPTIC_TICK, HAPTIC_RING, HAPTIC_ALERT, HAPTIC_STOP };
enum screen { SCR_HOME, SCR_RINGING, SCR_INBOX, SCR_ITEM, SCR_REPLY, SCR_VMTEXT };

struct inbox_item {
	bool is_vm, heard, replied;
	uint32_t event, vm_id, ts;
	uint16_t duration_s, text_len;
	char number[PROTO_MAX_NUMBER + 1];
	char name[PROTO_MAX_NAME + 1];
};

struct pager_io {
	void (*send)(const struct proto_msg *m, void *ctx);   /* to cloud, over whichever link is up */
	void (*haptic)(enum haptic h, void *ctx);
	void (*decline_call)(void *ctx);                      /* ANCS negative action */
	void *ctx;
};

struct pager {
	struct pager_io io;
	enum screen screen;
	uint8_t seq;

	/* status */
	uint8_t batt_pct, link;
	bool link_up;
	uint32_t unix_at_sync, uptime_at_sync, now;
	int16_t tz_min;
	uint8_t unheard;

	/* config */
	uint16_t cfg_ver, cfg_ver_rx;
	uint8_t canned_count;
	char canned[CANNED_MAX][PROTO_MAX_STR + 1];

	/* inbox, newest first */
	struct inbox_item inbox[INBOX_MAX];
	uint8_t inbox_count;
	uint32_t last_event;

	/* ui */
	uint8_t cursor, top;
	uint8_t item;                 /* index into inbox for SCR_ITEM / SCR_VMTEXT */
	bool reply_live;              /* reply targets the call that is ringing (call_event 0) */
	char ring_who[PROTO_MAX_NAME + 1];
	uint32_t ring_seen_at;
	bool ringing;
	char toast[UI_COLS + 1];
	uint32_t toast_until;
	uint32_t last_input;

	/* voicemail reader */
	char vm_text[VM_TEXT_MAX + 1];
	uint16_t vm_have, vm_total;
	uint32_t vm_reading;
	bool dirty;
};

void pager_init(struct pager *p, const struct pager_io *io);

/* Link management tells the model when a path to the cloud appears or goes away. */
void pager_link_changed(struct pager *p, bool up, uint8_t link, uint32_t now);
void pager_set_battery(struct pager *p, uint8_t pct);

void pager_on_frame(struct pager *p, const struct proto_msg *m, uint32_t now);
void pager_on_button(struct pager *p, enum button b, uint32_t now);
void pager_on_ring(struct pager *p, const char *who, uint32_t now);   /* ANCS incoming call */
void pager_on_ring_end(struct pager *p, uint32_t now);
void pager_tick(struct pager *p, uint32_t now);                       /* call about once a second */

/* Fills rows with NUL-terminated lines of at most UI_COLS chars. Row `*invert` is highlighted
 * (or -1). */
void pager_render(const struct pager *p, char rows[UI_ROWS][UI_COLS + 1], int *invert);

#endif
```

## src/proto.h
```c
/*
 * Pager wire protocol v1. See docs/protocol.md.
 * Pure C, no Zephyr dependencies: this file is also compiled and tested on the host.
 */
#ifndef PAGER_PROTO_H
#define PAGER_PROTO_H

#include <stddef.h>
#include <stdint.h>

#define PROTO_VERSION    1
#define PROTO_MAX_FRAME  180
#define PROTO_MAX_STR    160
#define PROTO_MAX_NUMBER 20
#define PROTO_MAX_NAME   32

enum proto_type {
	/* pager -> cloud */
	PT_HELLO = 0x01,
	PT_SYNC = 0x02,
	PT_REPLY = 0x03,
	PT_VM_GET = 0x04,
	PT_VM_MARK = 0x05,
	/* cloud -> pager */
	PT_TIME = 0x81,
	PT_CANNED = 0x82,
	PT_EV_CALL = 0x83,
	PT_EV_VM = 0x84,
	PT_VM_TEXT = 0x85,
	PT_REPLY_RESULT = 0x86,
	PT_SYNC_DONE = 0x87,
};

enum proto_link { LINK_BLE_BRIDGE = 0, LINK_LTE = 1 };
enum proto_vm_action { VM_HEARD = 1, VM_DELETE = 2 };
enum proto_reply_status {
	REPLY_SENT = 0,
	REPLY_QUEUED = 1,     /* will go to the next caller that reaches voicemail within 2 min */
	REPLY_NO_CALLER = 2,
	REPLY_FAILED = 3,
};

struct proto_msg {
	uint8_t type;
	uint8_t seq;
	union {
		struct {
			uint8_t proto, fw_major, fw_minor, batt_pct, link;
			uint16_t cfg_ver;
			uint32_t last_event;
		} hello;
		struct { uint32_t last_event; } sync;
		struct { uint32_t call_event; uint8_t canned_idx; } reply;
		struct { uint32_t vm_id; uint16_t offset; } vm_get;
		struct { uint32_t vm_id; uint8_t action; } vm_mark;

		struct { uint32_t unix_time; int16_t tz_min; } time;
		struct {
			uint16_t cfg_ver;
			uint8_t idx, count;
			char text[PROTO_MAX_STR + 1];
		} canned;
		struct {
			uint32_t event, ts;
			uint8_t flags;
			char number[PROTO_MAX_NUMBER + 1];
			char name[PROTO_MAX_NAME + 1];
		} ev_call;
		struct {
			uint32_t event, vm_id, ts;
			uint16_t duration_s, text_len;
			char number[PROTO_MAX_NUMBER + 1];
			char name[PROTO_MAX_NAME + 1];
		} ev_vm;
		struct {
			uint32_t vm_id;
			uint16_t offset, total;
			char chunk[PROTO_MAX_STR + 1];
		} vm_text;
		struct { uint32_t call_event; uint8_t status; } reply_result;
		struct { uint32_t last_event; uint8_t unheard; } sync_done;
	} u;
};

/* Returns the frame length, or a negative value if the message cannot be encoded. */
int proto_encode(const struct proto_msg *m, uint8_t *buf, size_t cap);

/* Returns 0 on success, negative on a malformed, truncated or unknown frame. */
int proto_decode(const uint8_t *buf, size_t len, struct proto_msg *m);

/* Canonical one-line text form, shared with the backend's test vectors. */
int proto_dump(const struct proto_msg *m, char *out, size_t cap);

#endif
```
